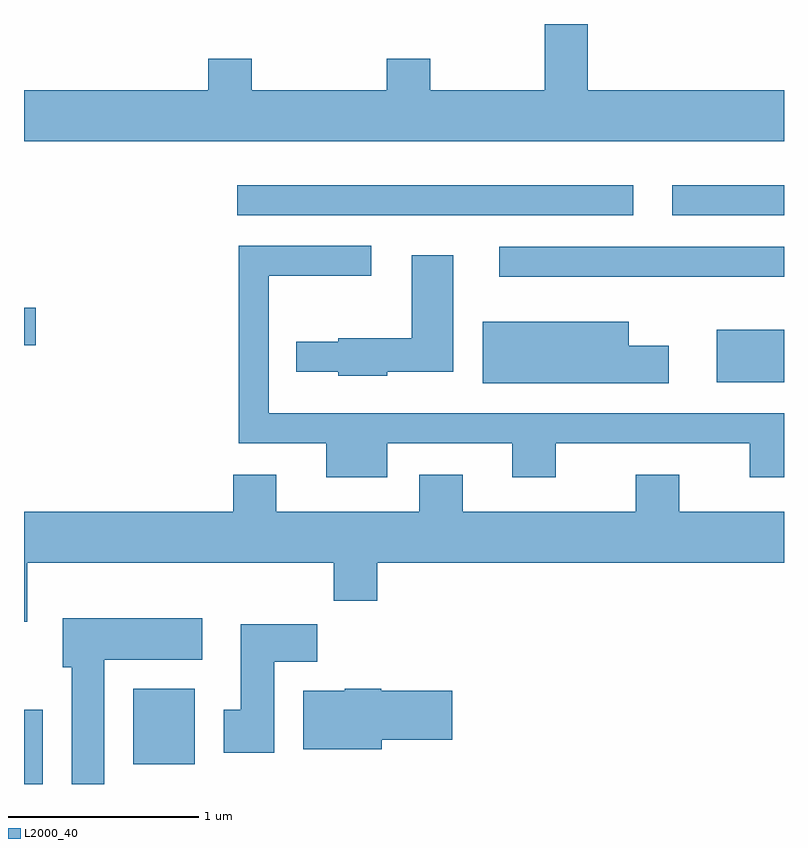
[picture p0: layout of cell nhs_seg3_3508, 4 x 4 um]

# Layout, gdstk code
import gdstk
lib = gdstk.Library(unit=1e-6, precision=1e-09)
def R(c, l, rs):  # rectangles x0, y0, x1, y1
    for r in rs: c.add(gdstk.rectangle(r[:2], r[2:], *l))
def P(c, l, *ps):  # polygons
    for p in ps: c.add(gdstk.Polygon(p, *l))
L2000_40 = (2000, 40)

nhs_seg3_3508 = lib.new_cell('nhs_seg3_3508')
R(nhs_seg3_3508, L2000_40, [(287.611,1195.892,287.709,1196.284), (288.186,1195.996,288.509,1196.394), (291.256,1198.006,291.611,1198.284), (287.611,1198.201,287.674,1198.399), (290.113,1198.561,291.611,1198.719), (288.733,1198.886,290.818,1199.044), (291.023,1198.886,291.611,1199.044)])
P(nhs_seg3_3508, L2000_40, [(291.611,1199.544),(290.579,1199.544),(290.579,1199.892),(290.351,1199.892),(290.351,1199.544),(289.749,1199.544),(289.749,1199.709),(289.521,1199.709),(289.521,1199.544),(288.809,1199.544),(288.809,1199.709),(288.581,1199.709),(288.581,1199.544),(287.611,1199.544),(287.611,1199.276),(291.611,1199.276)],
  [(289.524,1197.686),(290.181,1197.686),(290.181,1197.506),(290.409,1197.506),(290.409,1197.686),(291.431,1197.686),(291.431,1197.506),(291.611,1197.506),(291.611,1197.844),(288.899,1197.844),(288.899,1198.566),(289.438,1198.566),(289.438,1198.724),(288.741,1198.724),(288.741,1197.686),(289.201,1197.686),(289.201,1197.506),(289.524,1197.506)],
  [(289.524,1198.061),(289.869,1198.061),(289.869,1198.674),(289.651,1198.674),(289.651,1198.239),(289.266,1198.239),(289.266,1198.219),(289.043,1198.219),(289.043,1198.061),(289.266,1198.061),(289.266,1198.041),(289.524,1198.041)],
  [(291.004,1198.199),(290.794,1198.199),(290.794,1198.324),(290.026,1198.324),(290.026,1198.001),(291.004,1198.001)],
  [(287.629,1197.056),(289.241,1197.056),(289.241,1196.856),(289.469,1196.856),(289.469,1197.056),(291.611,1197.056),(291.611,1197.324),(291.059,1197.324),(291.059,1197.519),(290.831,1197.519),(290.831,1197.324),(289.919,1197.324),(289.919,1197.519),(289.691,1197.519),(289.691,1197.324),(288.939,1197.324),(288.939,1197.519),(288.711,1197.519),(288.711,1197.324),(287.611,1197.324),(287.611,1196.746),(287.629,1196.746)],
  [(288.034,1196.546),(288.549,1196.546),(288.549,1196.764),(287.816,1196.764),(287.816,1196.506),(287.861,1196.506),(287.861,1195.892),(288.034,1195.892)],
  [(288.929,1196.536),(289.154,1196.536),(289.154,1196.734),(288.751,1196.734),(288.751,1196.284),(288.661,1196.284),(288.661,1196.056),(288.929,1196.056)],
  [(289.494,1196.126),(289.864,1196.126),(289.864,1196.384),(289.49,1196.384),(289.49,1196.394),(289.3,1196.394),(289.3,1196.384),(289.081,1196.384),(289.081,1196.076),(289.494,1196.076)])

lib.write_gds('nhs_seg3_3508.gds')
